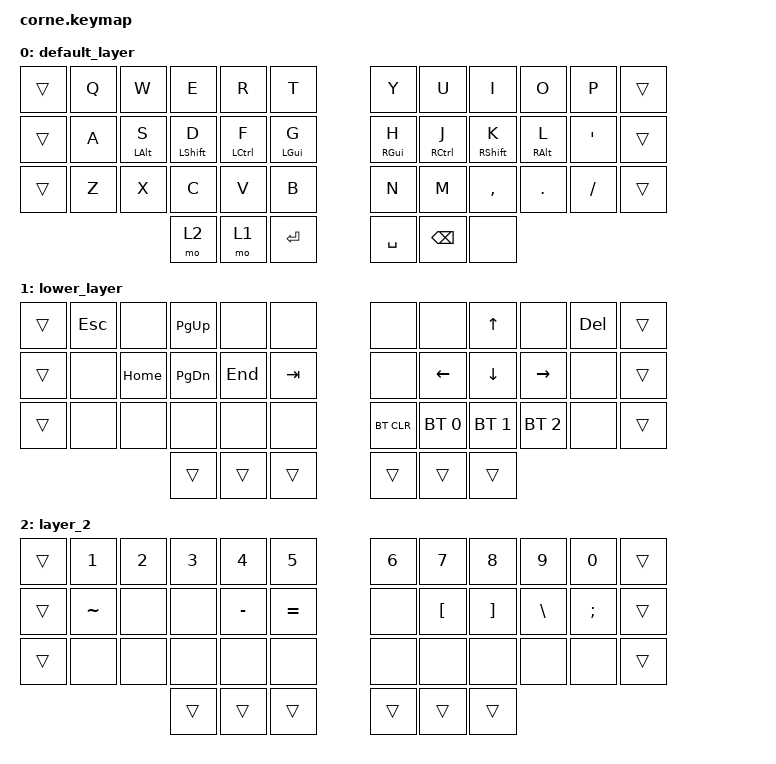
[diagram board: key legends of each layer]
/*
 * Copyright (c) 2020 The ZMK Contributors
 *
 * SPDX-License-Identifier: MIT
 */

#include <behaviors.dtsi>
#include <dt-bindings/zmk/bt.h>
#include <dt-bindings/zmk/keys.h>

/ {
    behaviors {
        hold_tap: hold_tap {
            compatible = "zmk,behavior-hold-tap";
            label = "HOLD_TAP";
            bindings = <&kp>, <&kp>;

            #binding-cells = <2>;
            tapping-term-ms = <200>;
            hold-while-undecided;
            flavor = "balanced";
        };
    };

    keymap {
        compatible = "zmk,keymap";

        default_layer {
            // -----------------------------------------------------------------------------------------
            // |  TAB |  Q  |  W  |  E  |  R  |  T  |   |  Y  |  U   |  I  |  O  |  P  | BSPC |
            // | CTRL |  A  |  S  |  D  |  F  |  G  |   |  H  |  J   |  K  |  L  |  ;  |  '   |
            // | SHFT |  Z  |  X  |  C  |  V  |  B  |   |  N  |  M   |  ,  |  .  |  /  | ESC  |
            //                    | GUI | LWR | SPC |   | ENT | RSE  | ALT |

            bindings = <
&trans  &kp Q  &kp W                 &kp E                   &kp R                     &kp T                   &kp Y                  &kp U                      &kp I                    &kp O                  &kp P     &trans
&trans  &kp A  &hold_tap LEFT_ALT S  &hold_tap LEFT_SHIFT D  &hold_tap LEFT_CONTROL F  &hold_tap LEFT_GUI G    &hold_tap RIGHT_GUI H  &hold_tap RIGHT_CONTROL J  &hold_tap RIGHT_SHIFT K  &hold_tap RIGHT_ALT L  &kp APOS  &trans
&trans  &kp Z  &kp X                 &kp C                   &kp V                     &kp B                   &kp N                  &kp M                      &kp COMMA                &kp DOT                &kp FSLH  &trans
                                     &mo 2                   &mo 1                     &kp ENTER               &kp SPACE              &kp BACKSPACE              &none
            >;
        };

        lower_layer {
            // -----------------------------------------------------------------------------------------
            // |  TAB |  1  |  2  |  3  |  4  |  5  |   |  6  |  7  |  8  |  9  |  0  | BSPC |
            // | BTCLR| BT1 | BT2 | BT3 | BT4 | BT5 |   | LFT | DWN |  UP | RGT |     |      |
            // | SHFT |     |     |     |     |     |   |     |     |     |     |     |      |
            //                    | GUI |     | SPC |   | ENT |     | ALT |

            bindings = <
&trans  &kp ESC  &none     &kp PG_UP  &none    &none      &none       &none         &kp UP_ARROW  &none         &kp DEL  &trans
&trans  &none    &kp HOME  &kp PG_DN  &kp END  &kp TAB    &none       &kp LEFT      &kp DOWN      &kp RIGHT     &none    &trans
&trans  &none    &none     &none      &none    &none      &bt BT_CLR  &bt BT_SEL 0  &bt BT_SEL 1  &bt BT_SEL 2  &none    &trans
                           &trans     &trans   &trans     &trans      &trans        &trans
            >;
        };

        layer_2 {
            bindings = <
&trans  &kp N1     &kp N2  &kp N3  &kp N4     &kp N5       &kp N6  &kp N7            &kp N8             &kp N9         &kp N0         &trans
&trans  &kp TILDE  &none   &none   &kp MINUS  &kp EQUAL    &none   &kp LEFT_BRACKET  &kp RIGHT_BRACKET  &kp BACKSLASH  &kp SEMICOLON  &trans
&trans  &none      &none   &none   &none      &none        &none   &none             &none              &none          &none          &trans
                           &trans  &trans     &trans       &trans  &trans            &trans
            >;
        };
    };
};
